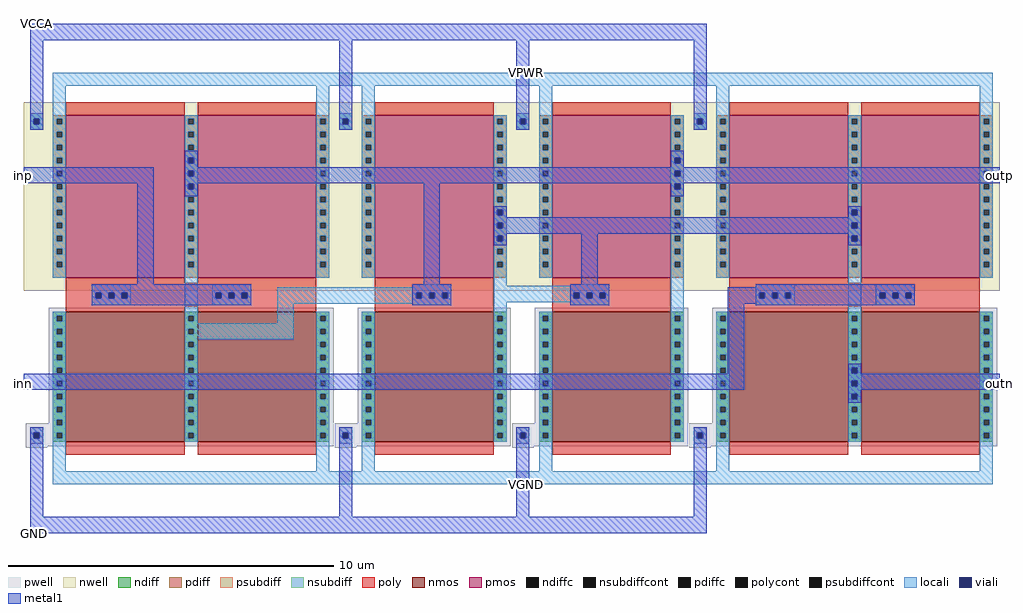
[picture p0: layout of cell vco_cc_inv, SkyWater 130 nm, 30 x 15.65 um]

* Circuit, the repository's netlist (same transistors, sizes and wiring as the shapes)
* NGSPICE file created from vco_cc_inv.ext - technology: sky130A

.subckt vco_aux_inv A VPWR VGND Y VCCA GND
X0 Y A VPWR VCCA sky130_fd_pr__pfet_01v8 ad=2 pd=10.8 as=2 ps=10.8 w=5 l=3.65
X1 Y A VGND GND sky130_fd_pr__nfet_01v8 ad=1.6 pd=8.8 as=1.6 ps=8.8 w=4 l=3.65
.ends

.subckt vco_main_inv A VPWR VGND Y VCCA GND
X0 VPWR A Y VCCA sky130_fd_pr__pfet_01v8 ad=2 pd=10.8 as=1 ps=5.4 w=5 l=3.65 M=2
X1 Y A VGND GND sky130_fd_pr__nfet_01v8 ad=0.8 pd=4.4 as=1.6 ps=8.8 w=4 l=3.65 M=2
.ends

.subckt vco_cc_inv inp inn VPWR VGND outp outn VCCA GND
Xvco_aux_inv_0 outp VPWR VGND outn VCCA GND vco_aux_inv
Xvco_aux_inv_1 outn VPWR VGND outp VCCA GND vco_aux_inv
Xvco_main_inv_0 inp VPWR VGND outp VCCA GND vco_main_inv
Xvco_main_inv_1 inn VPWR VGND outn VCCA GND vco_main_inv
.ends

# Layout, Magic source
magic
tech sky130A
magscale 1 2
<< nwell >>
rect 750 1970 790 2010
rect -90 1850 260 1950
rect 3290 1810 3730 2050
rect 3800 1850 3810 1950
rect 4830 1650 4870 1690
rect 4830 1570 4870 1610
<< poly >>
rect 2150 1177 2190 1180
rect 2150 1143 2153 1177
rect 2187 1143 2190 1177
rect 2150 1140 2190 1143
rect 2230 1177 2270 1180
rect 2230 1143 2233 1177
rect 2267 1143 2270 1177
rect 2230 1140 2270 1143
rect 2310 1177 2350 1180
rect 2310 1143 2313 1177
rect 2347 1143 2350 1177
rect 2310 1140 2350 1143
rect 3120 1177 3160 1180
rect 3120 1143 3123 1177
rect 3157 1143 3160 1177
rect 3120 1140 3160 1143
rect 3200 1177 3240 1180
rect 3200 1143 3203 1177
rect 3237 1143 3240 1177
rect 3200 1140 3240 1143
rect 3280 1177 3320 1180
rect 3280 1143 3283 1177
rect 3317 1143 3320 1177
rect 3280 1140 3320 1143
<< polycont >>
rect 2153 1143 2187 1177
rect 2233 1143 2267 1177
rect 2313 1143 2347 1177
rect 3123 1143 3157 1177
rect 3203 1143 3237 1177
rect 3283 1143 3317 1177
<< locali >>
rect 1610 2450 4190 2530
rect 1820 2270 1900 2450
rect 2910 2270 2990 2450
rect 750 2007 790 2010
rect 750 1973 753 2007
rect 787 1973 790 2007
rect 750 1970 790 1973
rect 3740 2007 3780 2010
rect 3740 1973 3743 2007
rect 3777 1973 3780 2007
rect 3740 1970 3780 1973
rect 750 1927 790 1930
rect 750 1893 753 1927
rect 787 1893 790 1927
rect 750 1890 790 1893
rect 3740 1927 3780 1930
rect 3740 1893 3743 1927
rect 3777 1893 3780 1927
rect 3740 1890 3780 1893
rect 750 1847 790 1850
rect 750 1813 753 1847
rect 787 1813 790 1847
rect 750 1810 790 1813
rect 3740 1847 3780 1850
rect 3740 1813 3743 1847
rect 3777 1813 3780 1847
rect 3740 1810 3780 1813
rect 2650 1687 2690 1690
rect 2650 1653 2653 1687
rect 2687 1653 2690 1687
rect 2650 1650 2690 1653
rect 4830 1687 4870 1690
rect 4830 1653 4833 1687
rect 4867 1653 4870 1687
rect 4830 1650 4870 1653
rect 2650 1607 2690 1610
rect 2650 1573 2653 1607
rect 2687 1573 2690 1607
rect 2650 1570 2690 1573
rect 4830 1607 4870 1610
rect 4830 1573 4833 1607
rect 4867 1573 4870 1607
rect 4830 1570 4870 1573
rect 2650 1527 2690 1530
rect 2650 1493 2653 1527
rect 2687 1493 2690 1527
rect 2650 1490 2690 1493
rect 4830 1527 4870 1530
rect 4830 1493 4833 1527
rect 4867 1493 4870 1527
rect 4830 1490 4870 1493
rect 2130 1210 2370 1230
rect 3100 1220 3340 1230
rect 1300 1177 2370 1210
rect 1300 1143 2153 1177
rect 2187 1143 2233 1177
rect 2267 1143 2313 1177
rect 2347 1143 2370 1177
rect 1300 1110 2370 1143
rect 2710 1177 3340 1220
rect 2710 1143 3123 1177
rect 3157 1143 3203 1177
rect 3237 1143 3283 1177
rect 3317 1143 3340 1177
rect 2710 1120 3340 1143
rect 1300 990 1400 1110
rect 2130 1100 2370 1110
rect 3100 1100 3340 1120
rect 810 890 1400 990
rect 4830 717 4870 720
rect 4830 683 4833 717
rect 4867 683 4870 717
rect 4830 680 4870 683
rect 4830 637 4870 640
rect 4830 603 4833 637
rect 4867 603 4870 637
rect 4830 600 4870 603
rect 4830 557 4870 560
rect 4830 523 4833 557
rect 4867 523 4870 557
rect 4830 520 4870 523
rect 1820 80 1900 260
rect 2910 80 2990 260
rect 1620 0 4000 80
<< viali >>
rect 753 1973 787 2007
rect 3743 1973 3777 2007
rect 753 1893 787 1927
rect 3743 1893 3777 1927
rect 753 1813 787 1847
rect 3743 1813 3777 1847
rect 2653 1653 2687 1687
rect 4833 1653 4867 1687
rect 2653 1573 2687 1607
rect 4833 1573 4867 1607
rect 2653 1493 2687 1527
rect 4833 1493 4867 1527
rect 2153 1143 2187 1177
rect 2233 1143 2267 1177
rect 2313 1143 2347 1177
rect 3123 1143 3157 1177
rect 3203 1143 3237 1177
rect 3283 1143 3317 1177
rect 4833 683 4867 717
rect 4833 603 4867 637
rect 4833 523 4867 557
<< metal1 >>
rect -220 2730 3940 2830
rect -220 2280 -140 2730
rect 1680 2280 1760 2730
rect 2770 2280 2850 2730
rect 3860 2280 3940 2730
rect 730 2007 810 2050
rect 730 1973 753 2007
rect 787 1973 810 2007
rect 730 1950 810 1973
rect 3720 2007 3800 2050
rect 3720 1973 3743 2007
rect 3777 1973 3800 2007
rect 3720 1950 3800 1973
rect -260 1850 540 1950
rect 440 1230 540 1850
rect 730 1927 5740 1950
rect 730 1893 753 1927
rect 787 1893 3743 1927
rect 3777 1893 5740 1927
rect 730 1850 5740 1893
rect 730 1847 810 1850
rect 730 1813 753 1847
rect 787 1813 810 1847
rect 730 1770 810 1813
rect 2200 1230 2300 1850
rect 3720 1847 3800 1850
rect 3720 1813 3743 1847
rect 3777 1813 3800 1847
rect 3720 1770 3800 1813
rect 2630 1687 2710 1710
rect 2630 1653 2653 1687
rect 2687 1653 2710 1687
rect 2630 1640 2710 1653
rect 4810 1687 4890 1710
rect 4810 1653 4833 1687
rect 4867 1653 4890 1687
rect 4810 1640 4890 1653
rect 2630 1607 4890 1640
rect 2630 1573 2653 1607
rect 2687 1573 4833 1607
rect 4867 1573 4890 1607
rect 2630 1540 4890 1573
rect 2630 1527 2710 1540
rect 2630 1493 2653 1527
rect 2687 1493 2710 1527
rect 2630 1470 2710 1493
rect 3170 1230 3270 1540
rect 4810 1527 4890 1540
rect 4810 1493 4833 1527
rect 4867 1493 4890 1527
rect 4810 1470 4890 1493
rect 2130 1177 2370 1230
rect 2130 1143 2153 1177
rect 2187 1143 2233 1177
rect 2267 1143 2313 1177
rect 2347 1143 2370 1177
rect 2130 1100 2370 1143
rect 3100 1177 3340 1230
rect 3100 1143 3123 1177
rect 3157 1143 3203 1177
rect 3237 1143 3283 1177
rect 3317 1143 3340 1177
rect 3100 1100 3340 1143
rect 4070 1110 4240 1210
rect 4070 680 4170 1110
rect -260 580 4170 680
rect 4810 717 4890 740
rect 4810 683 4833 717
rect 4867 683 4890 717
rect 4810 680 4890 683
rect 4810 637 5740 680
rect 4810 603 4833 637
rect 4867 603 5740 637
rect 4810 580 5740 603
rect 4810 557 4890 580
rect 4810 523 4833 557
rect 4867 523 4890 557
rect 4810 500 4890 523
rect -220 -200 -140 250
rect 1680 -200 1760 250
rect 2770 -200 2850 250
rect 3860 -200 3940 250
rect -220 -300 3940 -200
use vco_aux_inv  vco_aux_inv_0
transform 1 0 1900 0 1 1280
box -260 -1100 850 1070
use vco_aux_inv  vco_aux_inv_1
transform 1 0 2990 0 1 1280
box -260 -1100 850 1070
use vco_main_inv  vco_main_inv_0
transform 1 0 0 0 1 1270
box -260 -1270 1660 1260
use vco_main_inv  vco_main_inv_1
transform 1 0 4080 0 1 1270
box -260 -1270 1660 1260
<< labels >>
rlabel metal1 s -260 1900 -260 1900 4 inp
rlabel metal1 s -260 620 -260 620 4 inn
rlabel locali s 2830 2530 2830 2530 4 VPWR
rlabel locali s 2830 0 2830 0 4 VGND
rlabel metal1 s 5740 1900 5740 1900 4 outp
rlabel metal1 s 5740 620 5740 620 4 outn
rlabel metal1 s -180 2830 -180 2830 4 VCCA
rlabel metal1 s -190 -300 -190 -300 4 GND
<< end >>

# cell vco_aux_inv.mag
magic
tech sky130A
magscale 1 2
<< nwell >>
rect -260 -90 850 1070
<< pwell >>
rect -106 -904 836 -194
rect -246 -1046 836 -904
rect -246 -1056 -114 -1046
<< nmos >>
rect 0 -1020 730 -220
<< pmos >>
rect 0 -10 730 990
<< ndiff >>
rect -80 -243 0 -220
rect -80 -277 -57 -243
rect -23 -277 0 -243
rect -80 -323 0 -277
rect -80 -357 -57 -323
rect -23 -357 0 -323
rect -80 -403 0 -357
rect -80 -437 -57 -403
rect -23 -437 0 -403
rect -80 -483 0 -437
rect -80 -517 -57 -483
rect -23 -517 0 -483
rect -80 -563 0 -517
rect -80 -597 -57 -563
rect -23 -597 0 -563
rect -80 -643 0 -597
rect -80 -677 -57 -643
rect -23 -677 0 -643
rect -80 -723 0 -677
rect -80 -757 -57 -723
rect -23 -757 0 -723
rect -80 -803 0 -757
rect -80 -837 -57 -803
rect -23 -837 0 -803
rect -80 -883 0 -837
rect -80 -917 -57 -883
rect -23 -917 0 -883
rect -80 -963 0 -917
rect -80 -997 -57 -963
rect -23 -997 0 -963
rect -80 -1020 0 -997
rect 730 -243 810 -220
rect 730 -277 753 -243
rect 787 -277 810 -243
rect 730 -323 810 -277
rect 730 -357 753 -323
rect 787 -357 810 -323
rect 730 -403 810 -357
rect 730 -437 753 -403
rect 787 -437 810 -403
rect 730 -483 810 -437
rect 730 -517 753 -483
rect 787 -517 810 -483
rect 730 -563 810 -517
rect 730 -597 753 -563
rect 787 -597 810 -563
rect 730 -643 810 -597
rect 730 -677 753 -643
rect 787 -677 810 -643
rect 730 -723 810 -677
rect 730 -757 753 -723
rect 787 -757 810 -723
rect 730 -803 810 -757
rect 730 -837 753 -803
rect 787 -837 810 -803
rect 730 -883 810 -837
rect 730 -917 753 -883
rect 787 -917 810 -883
rect 730 -963 810 -917
rect 730 -997 753 -963
rect 787 -997 810 -963
rect 730 -1020 810 -997
<< pdiff >>
rect -80 967 0 990
rect -80 933 -57 967
rect -23 933 0 967
rect -80 887 0 933
rect -80 853 -57 887
rect -23 853 0 887
rect -80 807 0 853
rect -80 773 -57 807
rect -23 773 0 807
rect -80 727 0 773
rect -80 693 -57 727
rect -23 693 0 727
rect -80 647 0 693
rect -80 613 -57 647
rect -23 613 0 647
rect -80 567 0 613
rect -80 533 -57 567
rect -23 533 0 567
rect -80 487 0 533
rect -80 453 -57 487
rect -23 453 0 487
rect -80 407 0 453
rect -80 373 -57 407
rect -23 373 0 407
rect -80 327 0 373
rect -80 293 -57 327
rect -23 293 0 327
rect -80 247 0 293
rect -80 213 -57 247
rect -23 213 0 247
rect -80 167 0 213
rect -80 133 -57 167
rect -23 133 0 167
rect -80 87 0 133
rect -80 53 -57 87
rect -23 53 0 87
rect -80 -10 0 53
rect 730 967 810 990
rect 730 933 753 967
rect 787 933 810 967
rect 730 887 810 933
rect 730 853 753 887
rect 787 853 810 887
rect 730 807 810 853
rect 730 773 753 807
rect 787 773 810 807
rect 730 727 810 773
rect 730 693 753 727
rect 787 693 810 727
rect 730 647 810 693
rect 730 613 753 647
rect 787 613 810 647
rect 730 567 810 613
rect 730 533 753 567
rect 787 533 810 567
rect 730 487 810 533
rect 730 453 753 487
rect 787 453 810 487
rect 730 407 810 453
rect 730 373 753 407
rect 787 373 810 407
rect 730 327 810 373
rect 730 293 753 327
rect 787 293 810 327
rect 730 247 810 293
rect 730 213 753 247
rect 787 213 810 247
rect 730 167 810 213
rect 730 133 753 167
rect 787 133 810 167
rect 730 87 810 133
rect 730 53 753 87
rect 787 53 810 87
rect 730 -10 810 53
<< ndiffc >>
rect -57 -277 -23 -243
rect -57 -357 -23 -323
rect -57 -437 -23 -403
rect -57 -517 -23 -483
rect -57 -597 -23 -563
rect -57 -677 -23 -643
rect -57 -757 -23 -723
rect -57 -837 -23 -803
rect -57 -917 -23 -883
rect -57 -997 -23 -963
rect 753 -277 787 -243
rect 753 -357 787 -323
rect 753 -437 787 -403
rect 753 -517 787 -483
rect 753 -597 787 -563
rect 753 -677 787 -643
rect 753 -757 787 -723
rect 753 -837 787 -803
rect 753 -917 787 -883
rect 753 -997 787 -963
<< pdiffc >>
rect -57 933 -23 967
rect -57 853 -23 887
rect -57 773 -23 807
rect -57 693 -23 727
rect -57 613 -23 647
rect -57 533 -23 567
rect -57 453 -23 487
rect -57 373 -23 407
rect -57 293 -23 327
rect -57 213 -23 247
rect -57 133 -23 167
rect -57 53 -23 87
rect 753 933 787 967
rect 753 853 787 887
rect 753 773 787 807
rect 753 693 787 727
rect 753 613 787 647
rect 753 533 787 567
rect 753 453 787 487
rect 753 373 787 407
rect 753 293 787 327
rect 753 213 787 247
rect 753 133 787 167
rect 753 53 787 87
<< psubdiff >>
rect -220 -963 -140 -930
rect -220 -997 -197 -963
rect -163 -997 -140 -963
rect -220 -1030 -140 -997
<< nsubdiff >>
rect -220 967 -140 1000
rect -220 933 -197 967
rect -163 933 -140 967
rect -220 900 -140 933
<< psubdiffcont >>
rect -197 -997 -163 -963
<< nsubdiffcont >>
rect -197 933 -163 967
<< poly >>
rect 0 990 730 1070
rect 0 -220 730 -10
rect 0 -1100 730 -1020
<< locali >>
rect -220 967 -140 1000
rect -220 933 -197 967
rect -163 933 -140 967
rect -220 900 -140 933
rect -80 967 0 990
rect -80 933 -57 967
rect -23 933 0 967
rect -80 887 0 933
rect -80 853 -57 887
rect -23 853 0 887
rect -80 807 0 853
rect -80 773 -57 807
rect -23 773 0 807
rect -80 727 0 773
rect -80 693 -57 727
rect -23 693 0 727
rect -80 647 0 693
rect -80 613 -57 647
rect -23 613 0 647
rect -80 567 0 613
rect -80 533 -57 567
rect -23 533 0 567
rect -80 487 0 533
rect -80 453 -57 487
rect -23 453 0 487
rect -80 407 0 453
rect -80 373 -57 407
rect -23 373 0 407
rect -80 327 0 373
rect -80 293 -57 327
rect -23 293 0 327
rect -80 247 0 293
rect -80 213 -57 247
rect -23 213 0 247
rect -80 167 0 213
rect -80 133 -57 167
rect -23 133 0 167
rect -80 87 0 133
rect -80 53 -57 87
rect -23 53 0 87
rect -80 -10 0 53
rect 730 967 810 990
rect 730 933 753 967
rect 787 933 810 967
rect 730 887 810 933
rect 730 853 753 887
rect 787 853 810 887
rect 730 807 810 853
rect 730 773 753 807
rect 787 773 810 807
rect 730 727 810 773
rect 730 693 753 727
rect 787 693 810 727
rect 730 647 810 693
rect 730 613 753 647
rect 787 613 810 647
rect 730 567 810 613
rect 730 533 753 567
rect 787 533 810 567
rect 730 487 810 533
rect 730 453 753 487
rect 787 453 810 487
rect 730 407 810 453
rect 730 373 753 407
rect 787 373 810 407
rect 730 327 810 373
rect 730 293 753 327
rect 787 293 810 327
rect 730 247 810 293
rect 730 213 753 247
rect 787 213 810 247
rect 730 167 810 213
rect 730 133 753 167
rect 787 133 810 167
rect 730 87 810 133
rect 730 53 753 87
rect 787 53 810 87
rect -80 -243 0 -220
rect -80 -277 -57 -243
rect -23 -277 0 -243
rect -80 -323 0 -277
rect -80 -357 -57 -323
rect -23 -357 0 -323
rect -80 -403 0 -357
rect -80 -437 -57 -403
rect -23 -437 0 -403
rect -80 -483 0 -437
rect -80 -517 -57 -483
rect -23 -517 0 -483
rect -80 -563 0 -517
rect -80 -597 -57 -563
rect -23 -597 0 -563
rect -80 -643 0 -597
rect -80 -677 -57 -643
rect -23 -677 0 -643
rect -80 -723 0 -677
rect -80 -757 -57 -723
rect -23 -757 0 -723
rect -80 -803 0 -757
rect -80 -837 -57 -803
rect -23 -837 0 -803
rect -80 -883 0 -837
rect -80 -917 -57 -883
rect -23 -917 0 -883
rect -220 -963 -140 -930
rect -220 -997 -197 -963
rect -163 -997 -140 -963
rect -220 -1030 -140 -997
rect -80 -963 0 -917
rect -80 -997 -57 -963
rect -23 -997 0 -963
rect -80 -1020 0 -997
rect 730 -243 810 53
rect 730 -277 753 -243
rect 787 -277 810 -243
rect 730 -323 810 -277
rect 730 -357 753 -323
rect 787 -357 810 -323
rect 730 -403 810 -357
rect 730 -437 753 -403
rect 787 -437 810 -403
rect 730 -483 810 -437
rect 730 -517 753 -483
rect 787 -517 810 -483
rect 730 -563 810 -517
rect 730 -597 753 -563
rect 787 -597 810 -563
rect 730 -643 810 -597
rect 730 -677 753 -643
rect 787 -677 810 -643
rect 730 -723 810 -677
rect 730 -757 753 -723
rect 787 -757 810 -723
rect 730 -803 810 -757
rect 730 -837 753 -803
rect 787 -837 810 -803
rect 730 -883 810 -837
rect 730 -917 753 -883
rect 787 -917 810 -883
rect 730 -963 810 -917
rect 730 -997 753 -963
rect 787 -997 810 -963
rect 730 -1020 810 -997
<< viali >>
rect -197 933 -163 967
rect -197 -997 -163 -963
<< metal1 >>
rect -220 967 -140 1000
rect -220 933 -197 967
rect -163 933 -140 967
rect -220 900 -140 933
rect -220 -963 -140 -930
rect -220 -997 -197 -963
rect -163 -997 -140 -963
rect -220 -1030 -140 -997
<< labels >>
rlabel poly s 0 -120 0 -120 4 A
rlabel locali s -40 990 -40 990 4 VPWR
rlabel locali s -40 -1020 -40 -1020 4 VGND
rlabel locali s 810 -120 810 -120 4 Y
rlabel metal1 s -180 1000 -180 1000 4 VCCA
rlabel metal1 s -180 -1030 -180 -1030 4 GND
<< end >>

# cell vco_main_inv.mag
magic
tech sky130A
magscale 1 2
<< nwell >>
rect -260 -80 1660 1080
<< pwell >>
rect -106 -894 1646 -184
rect -246 -1036 1646 -894
rect -246 -1046 -114 -1036
<< nmos >>
rect 0 -1010 730 -210
rect 810 -1010 1540 -210
<< pmos >>
rect 0 0 730 1000
rect 810 0 1540 1000
<< ndiff >>
rect -80 -233 0 -210
rect -80 -267 -57 -233
rect -23 -267 0 -233
rect -80 -313 0 -267
rect -80 -347 -57 -313
rect -23 -347 0 -313
rect -80 -393 0 -347
rect -80 -427 -57 -393
rect -23 -427 0 -393
rect -80 -473 0 -427
rect -80 -507 -57 -473
rect -23 -507 0 -473
rect -80 -553 0 -507
rect -80 -587 -57 -553
rect -23 -587 0 -553
rect -80 -633 0 -587
rect -80 -667 -57 -633
rect -23 -667 0 -633
rect -80 -713 0 -667
rect -80 -747 -57 -713
rect -23 -747 0 -713
rect -80 -793 0 -747
rect -80 -827 -57 -793
rect -23 -827 0 -793
rect -80 -873 0 -827
rect -80 -907 -57 -873
rect -23 -907 0 -873
rect -80 -953 0 -907
rect -80 -987 -57 -953
rect -23 -987 0 -953
rect -80 -1010 0 -987
rect 730 -233 810 -210
rect 730 -267 753 -233
rect 787 -267 810 -233
rect 730 -313 810 -267
rect 730 -347 753 -313
rect 787 -347 810 -313
rect 730 -393 810 -347
rect 730 -427 753 -393
rect 787 -427 810 -393
rect 730 -473 810 -427
rect 730 -507 753 -473
rect 787 -507 810 -473
rect 730 -553 810 -507
rect 730 -587 753 -553
rect 787 -587 810 -553
rect 730 -633 810 -587
rect 730 -667 753 -633
rect 787 -667 810 -633
rect 730 -713 810 -667
rect 730 -747 753 -713
rect 787 -747 810 -713
rect 730 -793 810 -747
rect 730 -827 753 -793
rect 787 -827 810 -793
rect 730 -873 810 -827
rect 730 -907 753 -873
rect 787 -907 810 -873
rect 730 -953 810 -907
rect 730 -987 753 -953
rect 787 -987 810 -953
rect 730 -1010 810 -987
rect 1540 -233 1620 -210
rect 1540 -267 1563 -233
rect 1597 -267 1620 -233
rect 1540 -313 1620 -267
rect 1540 -347 1563 -313
rect 1597 -347 1620 -313
rect 1540 -393 1620 -347
rect 1540 -427 1563 -393
rect 1597 -427 1620 -393
rect 1540 -473 1620 -427
rect 1540 -507 1563 -473
rect 1597 -507 1620 -473
rect 1540 -553 1620 -507
rect 1540 -587 1563 -553
rect 1597 -587 1620 -553
rect 1540 -633 1620 -587
rect 1540 -667 1563 -633
rect 1597 -667 1620 -633
rect 1540 -713 1620 -667
rect 1540 -747 1563 -713
rect 1597 -747 1620 -713
rect 1540 -793 1620 -747
rect 1540 -827 1563 -793
rect 1597 -827 1620 -793
rect 1540 -873 1620 -827
rect 1540 -907 1563 -873
rect 1597 -907 1620 -873
rect 1540 -953 1620 -907
rect 1540 -987 1563 -953
rect 1597 -987 1620 -953
rect 1540 -1010 1620 -987
<< pdiff >>
rect -80 977 0 1000
rect -80 943 -57 977
rect -23 943 0 977
rect -80 897 0 943
rect -80 863 -57 897
rect -23 863 0 897
rect -80 817 0 863
rect -80 783 -57 817
rect -23 783 0 817
rect -80 737 0 783
rect -80 703 -57 737
rect -23 703 0 737
rect -80 657 0 703
rect -80 623 -57 657
rect -23 623 0 657
rect -80 577 0 623
rect -80 543 -57 577
rect -23 543 0 577
rect -80 497 0 543
rect -80 463 -57 497
rect -23 463 0 497
rect -80 417 0 463
rect -80 383 -57 417
rect -23 383 0 417
rect -80 337 0 383
rect -80 303 -57 337
rect -23 303 0 337
rect -80 257 0 303
rect -80 223 -57 257
rect -23 223 0 257
rect -80 177 0 223
rect -80 143 -57 177
rect -23 143 0 177
rect -80 97 0 143
rect -80 63 -57 97
rect -23 63 0 97
rect -80 0 0 63
rect 730 977 810 1000
rect 730 943 753 977
rect 787 943 810 977
rect 730 897 810 943
rect 730 863 753 897
rect 787 863 810 897
rect 730 817 810 863
rect 730 783 753 817
rect 787 783 810 817
rect 730 737 810 783
rect 730 703 753 737
rect 787 703 810 737
rect 730 657 810 703
rect 730 623 753 657
rect 787 623 810 657
rect 730 577 810 623
rect 730 543 753 577
rect 787 543 810 577
rect 730 497 810 543
rect 730 463 753 497
rect 787 463 810 497
rect 730 417 810 463
rect 730 383 753 417
rect 787 383 810 417
rect 730 337 810 383
rect 730 303 753 337
rect 787 303 810 337
rect 730 257 810 303
rect 730 223 753 257
rect 787 223 810 257
rect 730 177 810 223
rect 730 143 753 177
rect 787 143 810 177
rect 730 97 810 143
rect 730 63 753 97
rect 787 63 810 97
rect 730 0 810 63
rect 1540 977 1620 1000
rect 1540 943 1563 977
rect 1597 943 1620 977
rect 1540 897 1620 943
rect 1540 863 1563 897
rect 1597 863 1620 897
rect 1540 817 1620 863
rect 1540 783 1563 817
rect 1597 783 1620 817
rect 1540 737 1620 783
rect 1540 703 1563 737
rect 1597 703 1620 737
rect 1540 657 1620 703
rect 1540 623 1563 657
rect 1597 623 1620 657
rect 1540 577 1620 623
rect 1540 543 1563 577
rect 1597 543 1620 577
rect 1540 497 1620 543
rect 1540 463 1563 497
rect 1597 463 1620 497
rect 1540 417 1620 463
rect 1540 383 1563 417
rect 1597 383 1620 417
rect 1540 337 1620 383
rect 1540 303 1563 337
rect 1597 303 1620 337
rect 1540 257 1620 303
rect 1540 223 1563 257
rect 1597 223 1620 257
rect 1540 177 1620 223
rect 1540 143 1563 177
rect 1597 143 1620 177
rect 1540 97 1620 143
rect 1540 63 1563 97
rect 1597 63 1620 97
rect 1540 0 1620 63
<< ndiffc >>
rect -57 -267 -23 -233
rect -57 -347 -23 -313
rect -57 -427 -23 -393
rect -57 -507 -23 -473
rect -57 -587 -23 -553
rect -57 -667 -23 -633
rect -57 -747 -23 -713
rect -57 -827 -23 -793
rect -57 -907 -23 -873
rect -57 -987 -23 -953
rect 753 -267 787 -233
rect 753 -347 787 -313
rect 753 -427 787 -393
rect 753 -507 787 -473
rect 753 -587 787 -553
rect 753 -667 787 -633
rect 753 -747 787 -713
rect 753 -827 787 -793
rect 753 -907 787 -873
rect 753 -987 787 -953
rect 1563 -267 1597 -233
rect 1563 -347 1597 -313
rect 1563 -427 1597 -393
rect 1563 -507 1597 -473
rect 1563 -587 1597 -553
rect 1563 -667 1597 -633
rect 1563 -747 1597 -713
rect 1563 -827 1597 -793
rect 1563 -907 1597 -873
rect 1563 -987 1597 -953
<< pdiffc >>
rect -57 943 -23 977
rect -57 863 -23 897
rect -57 783 -23 817
rect -57 703 -23 737
rect -57 623 -23 657
rect -57 543 -23 577
rect -57 463 -23 497
rect -57 383 -23 417
rect -57 303 -23 337
rect -57 223 -23 257
rect -57 143 -23 177
rect -57 63 -23 97
rect 753 943 787 977
rect 753 863 787 897
rect 753 783 787 817
rect 753 703 787 737
rect 753 623 787 657
rect 753 543 787 577
rect 753 463 787 497
rect 753 383 787 417
rect 753 303 787 337
rect 753 223 787 257
rect 753 143 787 177
rect 753 63 787 97
rect 1563 943 1597 977
rect 1563 863 1597 897
rect 1563 783 1597 817
rect 1563 703 1597 737
rect 1563 623 1597 657
rect 1563 543 1597 577
rect 1563 463 1597 497
rect 1563 383 1597 417
rect 1563 303 1597 337
rect 1563 223 1597 257
rect 1563 143 1597 177
rect 1563 63 1597 97
<< psubdiff >>
rect -220 -953 -140 -920
rect -220 -987 -197 -953
rect -163 -987 -140 -953
rect -220 -1020 -140 -987
<< nsubdiff >>
rect -220 977 -140 1010
rect -220 943 -197 977
rect -163 943 -140 977
rect -220 910 -140 943
<< psubdiffcont >>
rect -197 -987 -163 -953
<< nsubdiffcont >>
rect -197 943 -163 977
<< poly >>
rect 0 1000 730 1080
rect 810 1000 1540 1080
rect 0 -30 730 0
rect 810 -30 1540 0
rect 0 -93 1540 -30
rect 0 -127 183 -93
rect 217 -127 263 -93
rect 297 -127 343 -93
rect 377 -127 923 -93
rect 957 -127 1003 -93
rect 1037 -127 1083 -93
rect 1117 -127 1540 -93
rect 0 -180 1540 -127
rect 0 -210 730 -180
rect 810 -210 1540 -180
rect 0 -1090 730 -1010
rect 810 -1090 1540 -1010
<< polycont >>
rect 183 -127 217 -93
rect 263 -127 297 -93
rect 343 -127 377 -93
rect 923 -127 957 -93
rect 1003 -127 1037 -93
rect 1083 -127 1117 -93
<< locali >>
rect -80 1180 1620 1260
rect -220 977 -140 1010
rect -220 943 -197 977
rect -163 943 -140 977
rect -220 910 -140 943
rect -80 977 0 1180
rect -80 943 -57 977
rect -23 943 0 977
rect -80 897 0 943
rect -80 863 -57 897
rect -23 863 0 897
rect -80 817 0 863
rect -80 783 -57 817
rect -23 783 0 817
rect -80 737 0 783
rect -80 703 -57 737
rect -23 703 0 737
rect -80 657 0 703
rect -80 623 -57 657
rect -23 623 0 657
rect -80 577 0 623
rect -80 543 -57 577
rect -23 543 0 577
rect -80 497 0 543
rect -80 463 -57 497
rect -23 463 0 497
rect -80 417 0 463
rect -80 383 -57 417
rect -23 383 0 417
rect -80 337 0 383
rect -80 303 -57 337
rect -23 303 0 337
rect -80 257 0 303
rect -80 223 -57 257
rect -23 223 0 257
rect -80 177 0 223
rect -80 143 -57 177
rect -23 143 0 177
rect -80 97 0 143
rect -80 63 -57 97
rect -23 63 0 97
rect -80 0 0 63
rect 730 977 810 1000
rect 730 943 753 977
rect 787 943 810 977
rect 730 897 810 943
rect 730 863 753 897
rect 787 863 810 897
rect 730 817 810 863
rect 730 783 753 817
rect 787 783 810 817
rect 730 737 810 783
rect 730 703 753 737
rect 787 703 810 737
rect 730 657 810 703
rect 730 623 753 657
rect 787 623 810 657
rect 730 577 810 623
rect 730 543 753 577
rect 787 543 810 577
rect 730 497 810 543
rect 730 463 753 497
rect 787 463 810 497
rect 730 417 810 463
rect 730 383 753 417
rect 787 383 810 417
rect 730 337 810 383
rect 730 303 753 337
rect 787 303 810 337
rect 730 257 810 303
rect 730 223 753 257
rect 787 223 810 257
rect 730 177 810 223
rect 730 143 753 177
rect 787 143 810 177
rect 730 97 810 143
rect 730 63 753 97
rect 787 63 810 97
rect 160 -93 400 -40
rect 160 -127 183 -93
rect 217 -127 263 -93
rect 297 -127 343 -93
rect 377 -127 400 -93
rect 160 -170 400 -127
rect -80 -233 0 -210
rect -80 -267 -57 -233
rect -23 -267 0 -233
rect -80 -313 0 -267
rect -80 -347 -57 -313
rect -23 -347 0 -313
rect -80 -393 0 -347
rect -80 -427 -57 -393
rect -23 -427 0 -393
rect -80 -473 0 -427
rect -80 -507 -57 -473
rect -23 -507 0 -473
rect -80 -553 0 -507
rect -80 -587 -57 -553
rect -23 -587 0 -553
rect -80 -633 0 -587
rect -80 -667 -57 -633
rect -23 -667 0 -633
rect -80 -713 0 -667
rect -80 -747 -57 -713
rect -23 -747 0 -713
rect -80 -793 0 -747
rect -80 -827 -57 -793
rect -23 -827 0 -793
rect -80 -873 0 -827
rect -80 -907 -57 -873
rect -23 -907 0 -873
rect -220 -953 -140 -920
rect -220 -987 -197 -953
rect -163 -987 -140 -953
rect -220 -1020 -140 -987
rect -80 -953 0 -907
rect -80 -987 -57 -953
rect -23 -987 0 -953
rect -80 -1190 0 -987
rect 730 -233 810 63
rect 1540 977 1620 1180
rect 1540 943 1563 977
rect 1597 943 1620 977
rect 1540 897 1620 943
rect 1540 863 1563 897
rect 1597 863 1620 897
rect 1540 817 1620 863
rect 1540 783 1563 817
rect 1597 783 1620 817
rect 1540 737 1620 783
rect 1540 703 1563 737
rect 1597 703 1620 737
rect 1540 657 1620 703
rect 1540 623 1563 657
rect 1597 623 1620 657
rect 1540 577 1620 623
rect 1540 543 1563 577
rect 1597 543 1620 577
rect 1540 497 1620 543
rect 1540 463 1563 497
rect 1597 463 1620 497
rect 1540 417 1620 463
rect 1540 383 1563 417
rect 1597 383 1620 417
rect 1540 337 1620 383
rect 1540 303 1563 337
rect 1597 303 1620 337
rect 1540 257 1620 303
rect 1540 223 1563 257
rect 1597 223 1620 257
rect 1540 177 1620 223
rect 1540 143 1563 177
rect 1597 143 1620 177
rect 1540 97 1620 143
rect 1540 63 1563 97
rect 1597 63 1620 97
rect 1540 0 1620 63
rect 900 -93 1140 -40
rect 900 -127 923 -93
rect 957 -127 1003 -93
rect 1037 -127 1083 -93
rect 1117 -127 1140 -93
rect 900 -170 1140 -127
rect 730 -267 753 -233
rect 787 -267 810 -233
rect 730 -313 810 -267
rect 730 -347 753 -313
rect 787 -347 810 -313
rect 730 -393 810 -347
rect 730 -427 753 -393
rect 787 -427 810 -393
rect 730 -473 810 -427
rect 730 -507 753 -473
rect 787 -507 810 -473
rect 730 -553 810 -507
rect 730 -587 753 -553
rect 787 -587 810 -553
rect 730 -633 810 -587
rect 730 -667 753 -633
rect 787 -667 810 -633
rect 730 -713 810 -667
rect 730 -747 753 -713
rect 787 -747 810 -713
rect 730 -793 810 -747
rect 730 -827 753 -793
rect 787 -827 810 -793
rect 730 -873 810 -827
rect 730 -907 753 -873
rect 787 -907 810 -873
rect 730 -953 810 -907
rect 730 -987 753 -953
rect 787 -987 810 -953
rect 730 -1010 810 -987
rect 1540 -233 1620 -210
rect 1540 -267 1563 -233
rect 1597 -267 1620 -233
rect 1540 -313 1620 -267
rect 1540 -347 1563 -313
rect 1597 -347 1620 -313
rect 1540 -393 1620 -347
rect 1540 -427 1563 -393
rect 1597 -427 1620 -393
rect 1540 -473 1620 -427
rect 1540 -507 1563 -473
rect 1597 -507 1620 -473
rect 1540 -553 1620 -507
rect 1540 -587 1563 -553
rect 1597 -587 1620 -553
rect 1540 -633 1620 -587
rect 1540 -667 1563 -633
rect 1597 -667 1620 -633
rect 1540 -713 1620 -667
rect 1540 -747 1563 -713
rect 1597 -747 1620 -713
rect 1540 -793 1620 -747
rect 1540 -827 1563 -793
rect 1597 -827 1620 -793
rect 1540 -873 1620 -827
rect 1540 -907 1563 -873
rect 1597 -907 1620 -873
rect 1540 -953 1620 -907
rect 1540 -987 1563 -953
rect 1597 -987 1620 -953
rect 1540 -1190 1620 -987
rect -80 -1270 1620 -1190
<< viali >>
rect -197 943 -163 977
rect 183 -127 217 -93
rect 263 -127 297 -93
rect 343 -127 377 -93
rect -197 -987 -163 -953
rect 923 -127 957 -93
rect 1003 -127 1037 -93
rect 1083 -127 1117 -93
<< metal1 >>
rect -220 977 -140 1010
rect -220 943 -197 977
rect -163 943 -140 977
rect -220 910 -140 943
rect 160 -93 1140 -40
rect 160 -127 183 -93
rect 217 -127 263 -93
rect 297 -127 343 -93
rect 377 -127 923 -93
rect 957 -127 1003 -93
rect 1037 -127 1083 -93
rect 1117 -127 1140 -93
rect 160 -170 1140 -127
rect -220 -953 -140 -920
rect -220 -987 -197 -953
rect -163 -987 -140 -953
rect -220 -1020 -140 -987
<< labels >>
rlabel metal1 s 160 -110 160 -110 4 A
rlabel locali s 770 1260 770 1260 4 VPWR
rlabel locali s 770 -1270 770 -1270 4 VGND
rlabel locali s 770 -1010 770 -1010 4 Y
rlabel metal1 s -180 1010 -180 1010 4 VCCA
rlabel metal1 s -180 -1020 -180 -1020 4 GND
<< end >>
